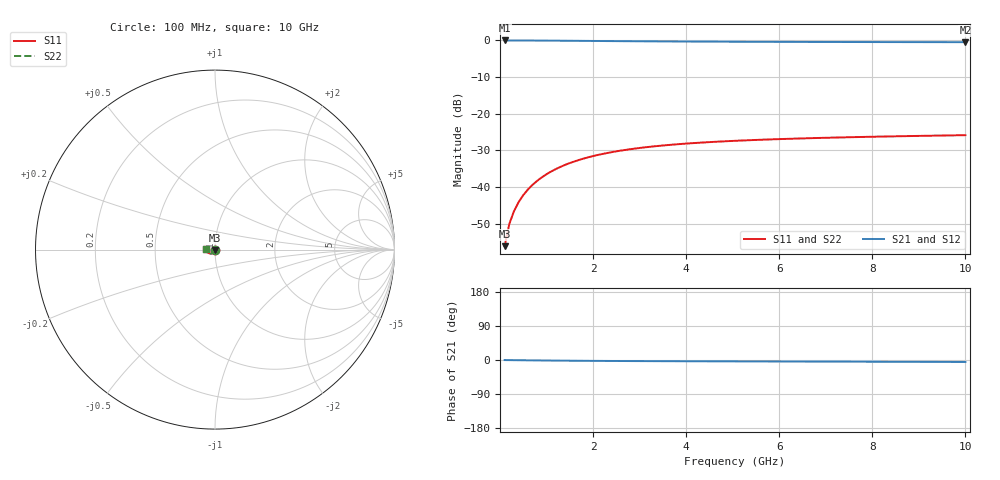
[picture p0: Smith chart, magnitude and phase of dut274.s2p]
! Touchstone file exported from HFSS 2024.1.0
!  File:  C:/UserFiles/LocalFiles/RDL_TSV_Batchsim/temp_TSV1_274_1779392599.aedt
!  Generated:  03:48:20 AM May 22, 2026
!  Design:  TSV1
!  Project:  temp_TSV1_274_1779392599
!  Setup:  Setup1
!  Solution:  Sweep
! Variables:
!  dtsv = 13.28um
!  hbump = 3um
!  htsv = 79.18um
!  lrdl = 252.1521522um
!  p = 40
!  p1 = 59.87um
!  t = 500um
!  trdl = 3um
!  wrdl = 24.89489489um
# GHz S MA R 50.000000
! Terminal data exported
! Port[1] = TSV22_T1
! Port[2] = TSV22_T2
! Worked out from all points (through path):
!   100 points, 100 MHz to 10 GHz, reference 50 ohm
!   highest |S21| = 0.00 dB at 100 MHz (marker M1); lowest = -0.5 dB at 10 GHz (marker M2)
!   lowest |S11| = -56.1 dB at 100 MHz (marker M3), VSWR 1.00, Z = 50 - j0.156 ohm
!   |S11| at or under -10 dB: start of sweep to end of sweep
!   |S22| runs from -56.1 to -25.8 dB; largest |S21 - S12| = 4.4e-15
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0.1  0.00156 -88.9  0.9999 -0.1  0.9999 -0.1  0.00156 -88.9
! Gamma 0 0 0 0
! Port Impedance 50 0 50 0
0.2  0.003116 -92.3  0.9997 -0.3  0.9997 -0.3  0.003116 -92.3
0.3  0.004668 -94.8  0.9994 -0.4  0.9994 -0.4  0.004668 -94.8
0.4  0.00621 -97.1  0.999 -0.6  0.999 -0.6  0.00621 -97.1
0.5  0.007736 -99.2  0.9985 -0.7  0.9985 -0.7  0.007736 -99.2
0.6  0.00924 -101.3  0.9979 -0.8  0.9979 -0.8  0.00924 -101.3
0.7  0.01072 -103.4  0.9972 -1.0  0.9972 -1.0  0.01072 -103.4
0.8  0.01216 -105.4  0.9965 -1.1  0.9965 -1.1  0.01216 -105.4
0.9  0.01358 -107.3  0.9957 -1.2  0.9957 -1.2  0.01358 -107.3
1.1  0.01629 -111.1  0.9939 -1.5  0.9939 -1.5  0.01629 -111.1
1.4  0.02005 -116.5  0.9909 -1.8  0.9909 -1.8  0.02005 -116.5
1.6  0.02235 -119.9  0.9887 -2.0  0.9887 -2.0  0.02235 -119.9
1.8  0.02448 -123.1  0.9865 -2.1  0.9865 -2.1  0.02448 -123.1
2.1  0.02737 -127.6  0.9832 -2.4  0.9832 -2.4  0.02737 -127.6
2.5  0.03068 -133.1  0.979 -2.6  0.979 -2.6  0.03068 -133.1
2.9  0.03348 -138.0  0.9752 -2.8  0.9752 -2.8  0.03348 -138.0
3.4  0.03636 -143.4  0.9708 -3.1  0.9708 -3.1  0.03636 -143.4
4.2  0.03992 -150.7  0.9651 -3.4  0.9651 -3.4  0.03992 -150.7
5.1  0.04285 -157.6  0.9602 -3.7  0.9602 -3.7  0.04285 -157.6
6.7  0.04645 -167.2  0.9542 -4.2  0.9542 -4.2  0.04645 -167.2
8.4  0.04908 -175.4  0.9501 -4.7  0.9501 -4.7  0.04908 -175.4
10  0.051 178.2  0.9475 -5.2  0.9475 -5.2  0.051 178.2
